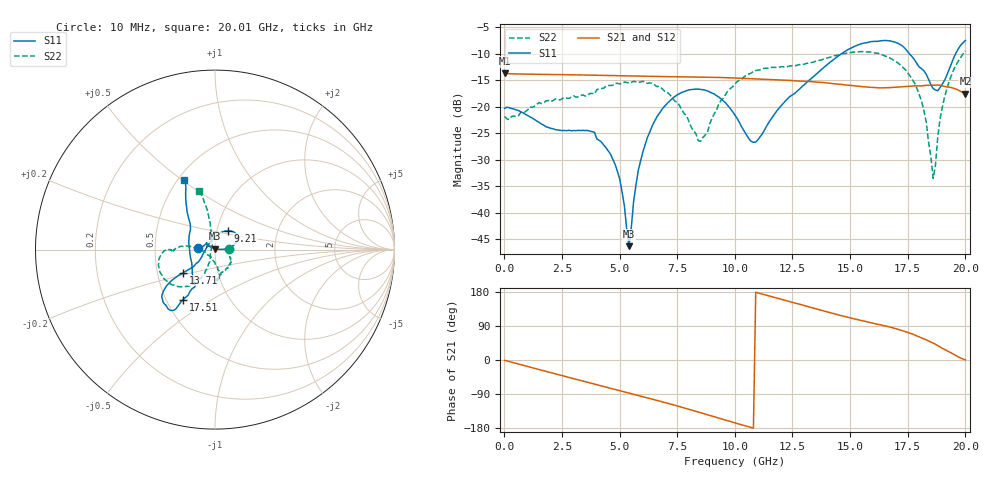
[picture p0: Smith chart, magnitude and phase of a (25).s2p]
! Hittite Microwave Corporation
! 2 Elizabeth Drive
! Chelmsford, MA 01824
! http://www.hittite.com
! Tel: 978-250-3343
! Fax: 978-250-3373
! Device:  HMC424LP3
! Description: 0.5 dB GaAs MMIC 6-Bit Digital Attenuator
! Frequency:  DC -  13.00 GHz
! Package:  LP3  - 3x3 mm Quad Flatpack No-Lead (QFN) Plastic Package: 16 pin
! Ports:  2 RF, 7 DC
!  Pad  1  = Ground
!  Pad  2  = RF IN  = Port 1
!  Pad  3  = Ground
!  Pad  4  = V6
!  Pad  5  = V5
!  Pad  6  = V4
!  Pad  7  = V3
!  Pad  8  = V2
!  Pad  9  = V1
!  Pad 10  = Ground
!  Pad 11  = RF OUT  = Port 2
!  Pad 12  = Ground
!  Pad 15  = VEE
! Control:  -5 Volt control voltage
! State:  23
! Attenuation:  11.5 dB
! Voltages:  Vdd = -5.00 Volts  Idd =  -2.681 mA
!  V1  = -5.00 Volts  I1  =  -1.0 uA
!  V2  = -5.00 Volts  I2  =  -1.0 uA
!  V3  = -5.00 Volts  I3  =  -1.0 uA
!  V4  = 0.00 Volts  I4  =  30.0 uA
!  V5  = -5.00 Volts  I5  =  -1.0 uA
!  V6  = 0.00 Volts  I6  =  29.0 uA
! Data:  The device was measured on evaluation board 105354-1.
!  Data was collected using a calibrated network analyzer.
!  The evaluation circuit board was modeled and simulated.  This was use
!  to removed the evaluation board circuit from the measured data.
!  The reference plane is the edge of the package pin.
! Misc:  Lot xxxx, Unit 1
!  Application 20120001, Data collected in Application 20090083
! Date Measured:  2009-09-15
! Date:  2012-05-14  MJV
! Note:
!  Hittite supplies this data as a sample of measured data at the package pin
!  for this product.  Your particular data for this product may vary.
!  Data was taken at 25 degrees C.
!  Hittite reserves the right to change this data at anytime.
# GHz S MA R 50
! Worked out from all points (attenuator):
!   201 points, 10 MHz to 20.01 GHz, reference 50 ohm
!   highest |S21| = -13.70 dB at 10 MHz (marker M1); lowest = -17.5 dB at 20.01 GHz (marker M2)
!   lowest |S11| = -46.4 dB at 5.41 GHz (marker M3), VSWR 1.01, Z = 50.1 + j0.467 ohm
!   |S11| at or under -10 dB: start of sweep to 14.63 GHz; 17.58 GHz to 19.59 GHz (2.006 GHz wide, 10.8 % of centre)
!   |S22| runs from -33.6 to -9.5 dB; largest |S21 - S12| = 0.0014
!   S11 on the Smith chart (normalised r, x): 10 MHz: 0.82, +0.01; 9.21 GHz: 1.13, +0.24; 13.71 GHz: 0.68, -0.18; 17.51 GHz: 0.61, -0.38; 20.01 GHz: 0.54, +0.51
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0.01  0.0964 174.7  0.2064 -1.0  0.2056 -1.3  0.08074 2.8
3.41  0.05971 140.4  0.199 -55.7  0.1988 -55.7  0.1291 -63.2
3.91  0.05741 143.8  0.1981 -63.6  0.198 -63.6  0.1315 -75.4
4.81  0.0284 150.6  0.1965 -77.8  0.1962 -77.8  0.1657 -84.9
5.11  0.01555 146.7  0.1958 -82.5  0.1955 -82.5  0.1653 -86.0
5.41  0.004812 75.4  0.1951 -87.2  0.1949 -87.3  0.1675 -86.2
5.81  0.02486 3.0  0.1945 -93.5  0.1942 -93.5  0.1685 -86.4
6.71  0.08543 8.5  0.1928 -108.0  0.1925 -108.0  0.1551 -81.8
7.51  0.1295 20.8  0.1915 -121.4  0.1912 -121.3  0.1099 -82.4
8.41  0.1464 37.0  0.1901 -137.1  0.1898 -137.1  0.04781 -118.5
9.21  0.1268 55.2  0.189 -151.7  0.1888 -151.7  0.09269 176.4
10.01  0.08318 80.9  0.1864 -166.0  0.1861 -166.0  0.1639 172.6
10.91  0.04631 156.7  0.1831 178.7  0.1829 178.7  0.2196 178.5
13.41  0.1916 -143.1  0.1718 137.0  0.1713 137.1  0.2628 179.9
13.71  0.2191 -144.1  0.1698 132.0  0.1694 132.0  0.2748 -179.0
16.71  0.419 -125.8  0.1512 87.3  0.151 87.3  0.2901 -134.7
17.51  0.3304 -122.7  0.1552 72.5  0.1549 72.5  0.2083 -119.6
18.21  0.2181 -122.2  0.1582 56.1  0.1581 56.1  0.09136 -114.1
18.61  0.1484 -151.4  0.1595 44.6  0.1592 44.7  0.021 -179.1
18.91  0.1514 165.0  0.1593 34.3  0.159 34.3  0.07651 106.4
19.11  0.1778 140.0  0.155 27.8  0.1548 27.7  0.1245 101.6
20.01  0.4219 114.0  0.1329 0.2  0.1326 0.2  0.336 104.9
